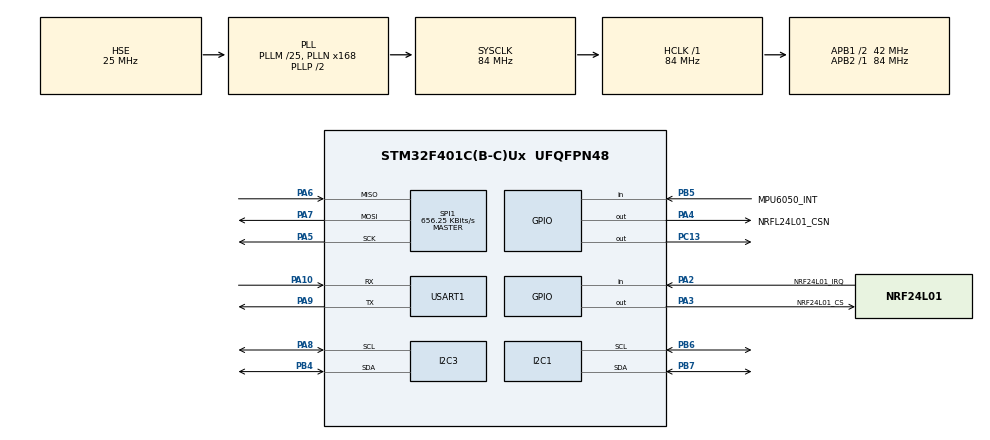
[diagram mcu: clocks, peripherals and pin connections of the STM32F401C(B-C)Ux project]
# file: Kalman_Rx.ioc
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I2C1.I2C_Mode=I2C_Fast
Mcu.Family=STM32F4
Mcu.Name=STM32F401C(B-C)Ux
Mcu.Package=UFQFPN48
NVIC.PriorityGroup=NVIC_PRIORITYGROUP_4
PA10.Mode=Asynchronous
PA10.Signal=USART1_RX
PA2.GPIO_Label=NRF24L01_IRQ
PA2.Signal=GPIO_Input
PA3.GPIO_Label=NRF24L01_CS
PA3.Signal=GPIO_Output
PA4.GPIO_Label=NRFL24L01_CSN
PA4.Signal=GPIO_Output
PA5.Mode=Full_Duplex_Master
PA5.Signal=SPI1_SCK
PA6.Mode=Full_Duplex_Master
PA6.Signal=SPI1_MISO
PA7.Mode=Full_Duplex_Master
PA7.Signal=SPI1_MOSI
PA8.Mode=I2C
PA8.Signal=I2C3_SCL
PA9.Mode=Asynchronous
PA9.Signal=USART1_TX
PB4.Mode=I2C
PB4.Signal=I2C3_SDA
PB5.GPIO_Label=MPU6050_INT
PB5.Signal=GPIO_Input
PB6.Mode=I2C
PB6.Signal=I2C1_SCL
PB7.Mode=I2C
PB7.Signal=I2C1_SDA
PC13-ANTI_TAMP.Signal=GPIO_Output
PH0\ -\ OSC_IN.Mode=HSE-External-Oscillator
PH0\ -\ OSC_IN.Signal=RCC_OSC_IN
PH1\ -\ OSC_OUT.Mode=HSE-External-Oscillator
PH1\ -\ OSC_OUT.Signal=RCC_OSC_OUT
ProjectManager.HeapSize=0x200
ProjectManager.StackSize=0x400
ProjectManager.TargetToolchain=STM32CubeIDE
RCC.48MHZClocksFreq_Value=42000000
RCC.AHBFreq_Value=84000000
RCC.APB1CLKDivider=RCC_HCLK_DIV2
RCC.APB1Freq_Value=42000000
RCC.APB1TimFreq_Value=84000000
RCC.APB2Freq_Value=84000000
RCC.APB2TimFreq_Value=84000000
RCC.CortexFreq_Value=84000000
RCC.HCLKFreq_Value=84000000
RCC.HSE_VALUE=25000000
RCC.HSI_VALUE=16000000
RCC.LSE_VALUE=32768
RCC.PLLM=25
RCC.PLLN=168
RCC.PLLSourceVirtual=RCC_PLLSOURCE_HSE
RCC.SYSCLKFreq_VALUE=84000000
RCC.SYSCLKSource=RCC_SYSCLKSOURCE_PLLCLK
RCC.VCOOutputFreq_Value=168000000
SPI1.BaudRatePrescaler=SPI_BAUDRATEPRESCALER_128
SPI1.CalculateBaudRate=656.25 KBits/s
SPI1.Direction=SPI_DIRECTION_2LINES
SPI1.Mode=SPI_MODE_MASTER
SPI1.VirtualType=VM_MASTER
USART1.VirtualMode=VM_ASYNC
board=custom

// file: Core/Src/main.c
/* USER CODE BEGIN Header */
/**
  ******************************************************************************
  * @file           : main.c
  * @brief          : Main program body
  ******************************************************************************
  * @attention
  *
  * <h2><center>&copy; Copyright (c) 2020 STMicroelectronics.
  * All rights reserved.</center></h2>
  *
  * This software component is licensed by ST under BSD 3-Clause license,
  * the "License"; You may not use this file except in compliance with the
  * License. You may obtain a copy of the License at:
  *                        opensource.org/licenses/BSD-3-Clause
  *
  ******************************************************************************
  */
/* USER CODE END Header */

#include "main.h"
#include "i2c.h"
#include "spi.h"
#include "usart.h"
#include "gpio.h"

/* USER CODE BEGIN Includes */
#include "mpu6050.h"
#include <stdio.h>
#include <math.h>
#include "ssd1306.h"
#include "MY_NRF24.h"
/* USER CODE END Includes */

void SystemClock_Config(void);

/* USER CODE BEGIN 0 */

/**********NRF24L01 variable**********/
uint64_t RxpipeAddrs = 122   ; /*nrf24l01 RX address*/
char RxData[50]              ; /*nrd24l01 RX data buffer*/
uint8_t RX_Check     = 0     ; /*nrd24l01 RX data Checksum*/
bool Data_Correct    = false ; /*nrd24l01 RX is data correct flag*/

/**********OLED variable**********/
char buff_pitch[4] ; /*pitch value in string format*/
float Pitch   ; /*pitch value in float format*/
char buff_roll[4] ; /*roll value in string format*/
float Roll    ;	/*roll value in float format*/
/* USER CODE END 0 */

int main(void)
{

  /* MCU Configuration--------------------------------------------------------*/

  /* Reset of all peripherals, Initializes the Flash interface and the Systick. */
  HAL_Init();

  /* Configure the system clock */
  SystemClock_Config();

  /* Initialize all configured peripherals */
  MX_GPIO_Init();
  MX_I2C1_Init();
  MX_I2C3_Init();
  MX_SPI1_Init();
  MX_USART1_UART_Init();
  /* USER CODE BEGIN 2 */

/*********Initialize OLED************/
ssd1306_Init(&hi2c3);

/***********Initialize NRF****************/
NRF24_begin(GPIOA, NRFL24L01_CSN_Pin, NRF24L01_CS_Pin, hspi1);
nrf24_DebugUART_Init(huart1);
NRF24_setAutoAck(false);
NRF24_setChannel(34);
NRF24_openReadingPipe(1, RxpipeAddrs);
NRF24_startListening();

  /* USER CODE END 2 */

  /* Infinite loop */
  /* USER CODE BEGIN WHILE */
  while (1)
  {

	  /* If the data available, reads data and checks is format true*/
	  if(NRF24_available())
	  {
		  NRF24_read(RxData, 32);
	  	  HAL_UART_Transmit(&huart1, (uint8_t *)RxData, 32, 10);

	  	  if(RxData[1] == 0xFF && RxData[10] == 0XFF)
	  	  {
	  		  for(uint8_t i = 1 ; i<11 ; i++)
	  		  {
	  			  RX_Check = RX_Check + RxData[i];
	  		  }
	  		  if(RX_Check == RxData[0])
	  		  {
	  			  Data_Correct = true ;
	  			  RX_Check     = 0    ;
	  		  }
	  	  }

	  }
	  if(Data_Correct == true) /*if the RX data is suitable for data structure */
	  {
		  /****Assign THE RX data to relevant buffer*****/
		  buff_pitch[0] = RxData[2] ;
		  buff_pitch[1] = RxData[3] ;
		  buff_pitch[2] = RxData[4] ;
		  buff_pitch[3] = RxData[5] ;

		  buff_roll[0]  = RxData[6] ;
		  buff_roll[1]  = RxData[7] ;
		  buff_roll[2]  = RxData[8] ;
		  buff_roll[3]  = RxData[9] ;

		  Pitch = atof(buff_pitch) ;
		  Roll  = atof(buff_roll)  ;

		  /*****write the data to OLED*******/
		  ssd1306_Fill(Black);
		  ssd1306_SetCursor(0, 0);
		  ssd1306_WriteString("ON  :", Font_10x14, White);
		  ssd1306_SetCursor(0, 16);
		  ssd1306_WriteString("ARKA:", Font_10x14, White);
		  ssd1306_SetCursor(0, 32);
		  ssd1306_WriteString("SAG :", Font_10x14, White);
		  ssd1306_SetCursor(0, 48);
		  ssd1306_WriteString("SOL :", Font_10x14, White);

		  ssd1306_SetCursor(78, 0);
		  ssd1306_WriteString(buff_pitch, Font_10x14, White);
		  sprintf(buff_pitch,"%0.0f",(Pitch*-1.0F));
		  ssd1306_SetCursor(78, 16);
		  ssd1306_WriteString(buff_pitch, Font_10x14, White);

		  ssd1306_SetCursor(78, 32);
		  ssd1306_WriteString(buff_roll, Font_10x14, White);

		  Roll = Roll * (-1.0f);
		  sprintf(buff_roll,"%0.0f",Roll);
		  ssd1306_SetCursor(78, 48);
		  ssd1306_WriteString(buff_roll, Font_10x14, White);

		  ssd1306_UpdateScreen(&hi2c3);
		  HAL_GPIO_TogglePin(GPIOC, GPIO_PIN_13);

		  Data_Correct = false ;
	  }

    /* USER CODE END WHILE */

  }
}

void SystemClock_Config(void)
{
  RCC_OscInitTypeDef RCC_OscInitStruct = {0};
  RCC_ClkInitTypeDef RCC_ClkInitStruct = {0};

  /** Configure the main internal regulator output voltage
  */
  __HAL_RCC_PWR_CLK_ENABLE();
  __HAL_PWR_VOLTAGESCALING_CONFIG(PWR_REGULATOR_VOLTAGE_SCALE2);
  /** Initializes the CPU, AHB and APB busses clocks
  */
  RCC_OscInitStruct.OscillatorType = RCC_OSCILLATORTYPE_HSE;
  RCC_OscInitStruct.HSEState = RCC_HSE_ON;
  RCC_OscInitStruct.PLL.PLLState = RCC_PLL_ON;
  RCC_OscInitStruct.PLL.PLLSource = RCC_PLLSOURCE_HSE;
  RCC_OscInitStruct.PLL.PLLM = 25;
  RCC_OscInitStruct.PLL.PLLN = 168;
  RCC_OscInitStruct.PLL.PLLP = RCC_PLLP_DIV2;
  RCC_OscInitStruct.PLL.PLLQ = 4;
  if (HAL_RCC_OscConfig(&RCC_OscInitStruct) != HAL_OK)
  {
    Error_Handler();
  }
  /** Initializes the CPU, AHB and APB busses clocks
  */
  RCC_ClkInitStruct.ClockType = RCC_CLOCKTYPE_HCLK|RCC_CLOCKTYPE_SYSCLK
                              |RCC_CLOCKTYPE_PCLK1|RCC_CLOCKTYPE_PCLK2;
  RCC_ClkInitStruct.SYSCLKSource = RCC_SYSCLKSOURCE_PLLCLK;
  RCC_ClkInitStruct.AHBCLKDivider = RCC_SYSCLK_DIV1;
  RCC_ClkInitStruct.APB1CLKDivider = RCC_HCLK_DIV2;
  RCC_ClkInitStruct.APB2CLKDivider = RCC_HCLK_DIV1;

  if (HAL_RCC_ClockConfig(&RCC_ClkInitStruct, FLASH_LATENCY_2) != HAL_OK)
  {
    Error_Handler();
  }
}

void Error_Handler(void)
{
}

/************************ (C) COPYRIGHT STMicroelectronics *****END OF FILE****/
